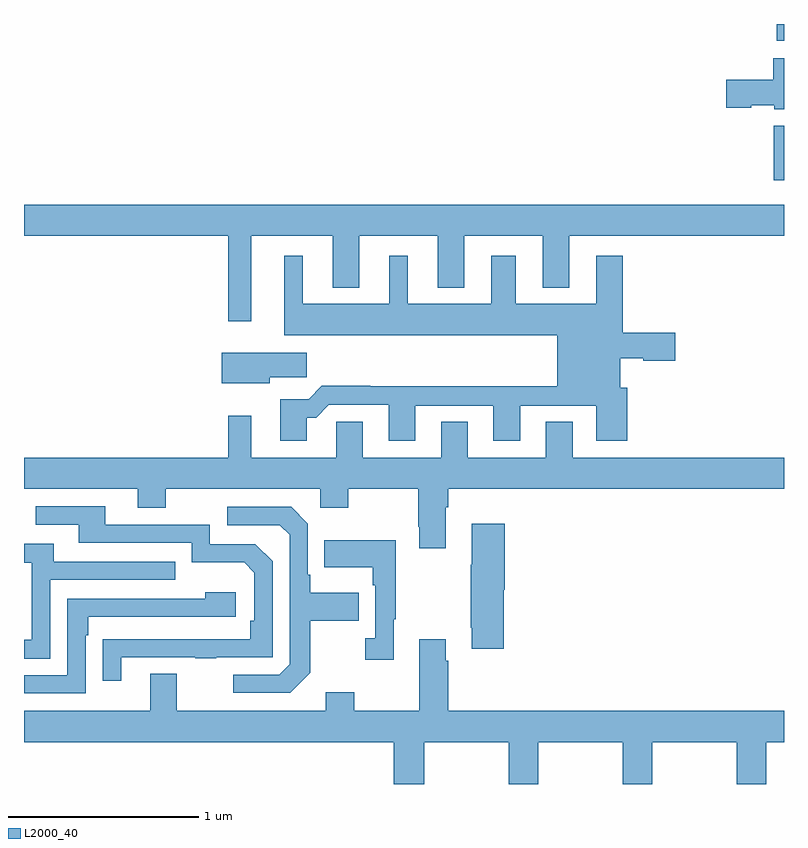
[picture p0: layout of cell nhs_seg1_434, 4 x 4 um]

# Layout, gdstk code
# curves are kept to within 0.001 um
import gdstk
lib = gdstk.Library(unit=1e-6, precision=1e-09)
def R(c, l, rs):  # rectangles x0, y0, x1, y1
    for r in rs: c.add(gdstk.rectangle(r[:2], r[2:], *l))
def P(c, l, *ps):  # polygons
    for p in ps: c.add(gdstk.Polygon(p, *l))
L2000_40 = (2000, 40)

nhs_seg1_434 = lib.new_cell('nhs_seg1_434')
R(nhs_seg1_434, L2000_40, [(138.947,533.376,139,533.663), (138.961,534.11,139,534.199)])
P(nhs_seg1_434, L2000_40, [(139,534.02),(138.944,534.02),(138.944,533.906),(138.696,533.906),(138.696,533.759),(138.828,533.759),(138.828,533.771),(138.948,533.771),(138.948,533.75),(139,533.75)],
  [(136.195,533.084),(136.625,533.084),(136.625,532.811),(136.765,532.811),(136.765,533.084),(137.177,533.084),(137.177,532.811),(137.317,532.811),(137.317,533.084),(137.729,533.084),(137.729,532.811),(137.869,532.811),(137.869,533.084),(139,533.084),(139,533.248),(135,533.248),(135,533.084),(136.074,533.084),(136.074,532.635),(136.195,532.635)],
  [(136.489,532.127),(136.538,532.127),(136.605,532.194),(136.919,532.194),(136.919,532.005),(137.059,532.005),(137.059,532.191),(137.471,532.191),(137.471,532.005),(137.611,532.005),(137.611,532.191),(138.011,532.191),(138.011,532.005),(138.176,532.005),(138.176,532.284),(138.139,532.284),(138.139,532.439),(138.259,532.439),(138.259,532.427),(138.427,532.427),(138.427,532.574),(138.152,532.574),(138.152,532.978),(138.011,532.978),(138.011,532.726),(137.587,532.726),(137.587,532.978),(137.459,532.978),(137.459,532.726),(137.02,532.726),(137.02,532.978),(136.922,532.978),(136.922,532.726),(136.468,532.726),(136.468,532.978),(136.37,532.978),(136.37,532.562),(137.807,532.562),(137.807,532.292),(136.823,532.292),(136.823,532.295),(136.568,532.295),(136.498,532.225),(136.349,532.225),(136.349,532.005),(136.489,532.005)],
  [(136.294,532.339),(136.489,532.339),(136.489,532.468),(136.04,532.468),(136.04,532.307),(136.294,532.307)],
  [(137.221,531.656),(137.234,531.656),(137.234,531.752),(139,531.752),(139,531.916),(137.887,531.916),(137.887,532.106),(137.747,532.106),(137.747,531.916),(137.335,531.916),(137.335,532.106),(137.195,532.106),(137.195,531.916),(136.783,531.916),(136.783,532.106),(136.644,532.106),(136.644,531.916),(136.195,531.916),(136.195,532.138),(136.074,532.138),(136.074,531.916),(135,531.916),(135,531.752),(135.599,531.752),(135.599,531.653),(135.747,531.653),(135.747,531.752),(136.56,531.752),(136.56,531.653),(136.707,531.653),(136.707,531.752),(137.074,531.752),(137.074,531.553),(137.081,531.553),(137.081,531.441),(137.221,531.441)],
  [(135.511,530.865),(135.901,530.865),(135.901,530.86),(136.013,530.86),(136.013,530.865),(136.308,530.865),(136.308,531.372),(136.218,531.462),(135.978,531.462),(135.978,531.564),(135.427,531.564),(135.427,531.66),(135.063,531.66),(135.063,531.564),(135.287,531.564),(135.287,531.468),(135.882,531.468),(135.882,531.365),(136.159,531.365),(136.212,531.312),(136.212,531.058),(136.192,531.058),(136.192,530.961),(135.415,530.96),(135.415,530.742),(135.511,530.742)],
  [(136.507,530.785),(136.507,531.058),(136.763,531.058),(136.763,531.205),(136.507,531.205),(136.507,531.301),(136.494,531.301),(136.494,531.57),(136.407,531.657),(136.071,531.657),(136.071,531.561),(136.347,531.561),(136.398,531.51),(136.398,530.829),(136.344,530.775),(136.101,530.775),(136.101,530.679),(136.401,530.679)],
  [(137.525,531.222),(137.53,531.222),(137.53,531.568),(137.357,531.568),(137.357,531.353),(137.35,531.353),(137.35,531.022),(137.357,531.022),(137.357,530.91),(137.525,530.91)],
  [(136.945,531.065),(136.957,531.065),(136.957,531.481),(136.579,531.481),(136.579,531.341),(136.836,531.341),(136.836,531.245),(136.848,531.245),(136.848,530.966),(136.797,530.966),(136.797,530.853),(136.945,530.853)],
  [(135.138,531.273),(135.797,531.273),(135.797,531.369),(135.157,531.369),(135.157,531.463),(135,531.463),(135,531.363),(135.042,531.363),(135.042,530.958),(135,530.958),(135,530.857),(135.138,530.857)],
  [(135.324,530.981),(135.337,530.981),(135.337,531.078),(136.114,531.078),(136.114,531.208),(135.953,531.208),(135.953,531.174),(135.228,531.174),(135.228,530.772),(135,530.772),(135,530.676),(135.324,530.676)],
  [(137.106,530.42),(137.551,530.42),(137.551,530.199),(137.706,530.199),(137.706,530.42),(138.151,530.42),(138.151,530.199),(138.306,530.199),(138.306,530.42),(138.751,530.42),(138.751,530.199),(138.906,530.199),(138.906,530.42),(139,530.42),(139,530.584),(137.234,530.584),(137.234,530.849),(137.221,530.849),(137.221,530.962),(137.081,530.962),(137.081,530.584),(136.737,530.584),(136.737,530.683),(136.589,530.683),(136.589,530.584),(135.805,530.584),(135.805,530.779),(135.665,530.779),(135.665,530.584),(135,530.584),(135,530.42),(136.946,530.42),(136.946,530.199),(137.106,530.199)])

lib.write_gds('nhs_seg1_434.gds')
